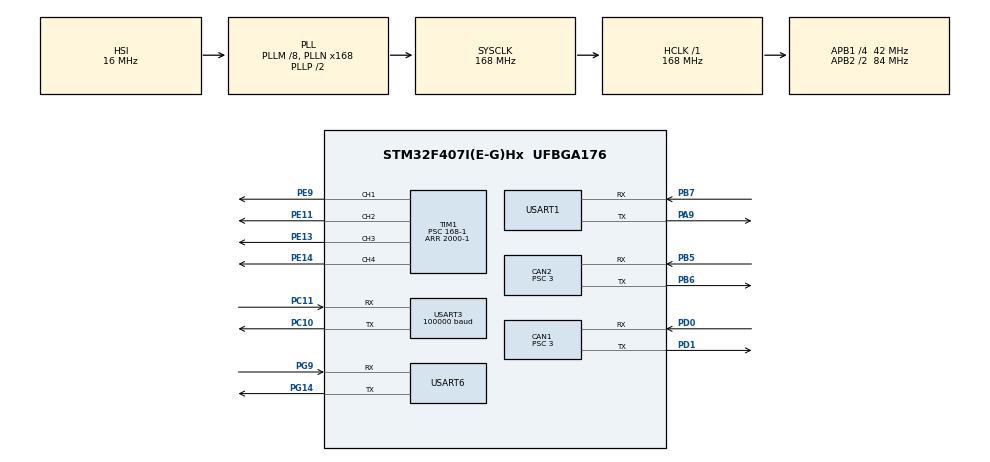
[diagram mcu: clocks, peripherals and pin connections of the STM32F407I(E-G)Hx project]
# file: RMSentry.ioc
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CAN1.BS1=CAN_BS1_10TQ
CAN1.BS2=CAN_BS2_3TQ
CAN1.CalculateTimeQuantum=71.42857142857143
CAN1.Prescaler=3
CAN2.BS1=CAN_BS1_10TQ
CAN2.BS2=CAN_BS2_3TQ
CAN2.CalculateTimeQuantum=71.42857142857143
CAN2.Prescaler=3
Dma.Request0=USART3_RX
Dma.Request1=USART6_RX
Dma.USART3_RX.0.Direction=DMA_PERIPH_TO_MEMORY
Dma.USART3_RX.0.FIFOMode=DMA_FIFOMODE_DISABLE
Dma.USART3_RX.0.Instance=DMA1_Stream1
Dma.USART3_RX.0.MemDataAlignment=DMA_MDATAALIGN_BYTE
Dma.USART3_RX.0.MemInc=DMA_MINC_ENABLE
Dma.USART3_RX.0.Mode=DMA_CIRCULAR
Dma.USART3_RX.0.PeriphDataAlignment=DMA_PDATAALIGN_BYTE
Dma.USART3_RX.0.PeriphInc=DMA_PINC_DISABLE
Dma.USART3_RX.0.Priority=DMA_PRIORITY_VERY_HIGH
Dma.USART6_RX.1.Direction=DMA_PERIPH_TO_MEMORY
Dma.USART6_RX.1.FIFOMode=DMA_FIFOMODE_DISABLE
Dma.USART6_RX.1.Instance=DMA2_Stream1
Dma.USART6_RX.1.MemDataAlignment=DMA_MDATAALIGN_BYTE
Dma.USART6_RX.1.MemInc=DMA_MINC_ENABLE
Dma.USART6_RX.1.Mode=DMA_CIRCULAR
Dma.USART6_RX.1.PeriphDataAlignment=DMA_PDATAALIGN_BYTE
Dma.USART6_RX.1.PeriphInc=DMA_PINC_DISABLE
Dma.USART6_RX.1.Priority=DMA_PRIORITY_VERY_HIGH
Mcu.Family=STM32F4
Mcu.Name=STM32F407I(E-G)Hx
Mcu.Package=UFBGA176
NVIC.CAN1_RX0_IRQn=true\:0\:0\:false\:false\:true\:true\:true
NVIC.CAN2_RX0_IRQn=true\:0\:0\:false\:false\:true\:true\:true
NVIC.DMA1_Stream1_IRQn=true\:0\:0\:false\:false\:true\:false\:true
NVIC.DMA2_Stream1_IRQn=true\:0\:0\:false\:false\:true\:false\:true
NVIC.PriorityGroup=NVIC_PRIORITYGROUP_4
NVIC.TIM2_IRQn=true\:0\:0\:false\:false\:true\:true\:true
NVIC.USART1_IRQn=true\:0\:0\:false\:false\:true\:true\:true
NVIC.USART3_IRQn=true\:0\:0\:false\:false\:true\:true\:true
NVIC.USART6_IRQn=true\:0\:0\:false\:false\:true\:true\:true
PA13.Mode=Serial_Wire
PA13.Signal=SYS_JTMS-SWDIO
PA14.Mode=Serial_Wire
PA14.Signal=SYS_JTCK-SWCLK
PA9.Mode=Asynchronous
PA9.Signal=USART1_TX
PB5.Mode=Slave
PB5.Signal=CAN2_RX
PB6.Mode=Slave
PB6.Signal=CAN2_TX
PB7.Mode=Asynchronous
PB7.Signal=USART1_RX
PC10.Mode=Asynchronous
PC10.Signal=USART3_TX
PC11.Mode=Asynchronous
PC11.Signal=USART3_RX
PD0.Mode=Master
PD0.Signal=CAN1_RX
PD1.Mode=Master
PD1.Signal=CAN1_TX
PE11.Signal=S_TIM1_CH2
PE13.Signal=S_TIM1_CH3
PE14.Signal=S_TIM1_CH4
PE9.Signal=S_TIM1_CH1
PG14.Mode=Asynchronous
PG14.Signal=USART6_TX
PG9.Mode=Asynchronous
PG9.Signal=USART6_RX
PH0-OSC_IN.Mode=HSE-External-Oscillator
PH0-OSC_IN.Signal=RCC_OSC_IN
PH1-OSC_OUT.Mode=HSE-External-Oscillator
PH1-OSC_OUT.Signal=RCC_OSC_OUT
ProjectManager.HeapSize=0x200
ProjectManager.StackSize=0x400
ProjectManager.TargetToolchain=MDK-ARM V5.27
RCC.48MHZClocksFreq_Value=84000000
RCC.AHBFreq_Value=168000000
RCC.APB1CLKDivider=RCC_HCLK_DIV4
RCC.APB1Freq_Value=42000000
RCC.APB1TimFreq_Value=84000000
RCC.APB2CLKDivider=RCC_HCLK_DIV2
RCC.APB2Freq_Value=84000000
RCC.APB2TimFreq_Value=168000000
RCC.CortexFreq_Value=168000000
RCC.HCLKFreq_Value=168000000
RCC.HSE_VALUE=25000000
RCC.HSI_VALUE=16000000
RCC.LSE_VALUE=32768
RCC.PLLM=8
RCC.PLLN=168
RCC.SYSCLKFreq_VALUE=168000000
RCC.SYSCLKSource=RCC_SYSCLKSOURCE_PLLCLK
RCC.VCOOutputFreq_Value=336000000
SH.S_TIM1_CH1.0=TIM1_CH1,PWM Generation1 CH1
SH.S_TIM1_CH2.0=TIM1_CH2,PWM Generation2 CH2
SH.S_TIM1_CH3.0=TIM1_CH3,PWM Generation3 CH3
SH.S_TIM1_CH4.0=TIM1_CH4,PWM Generation4 CH4
STMicroelectronics.X-CUBE-ALGOBUILD.1.3.0.LibraryCcDSPOoLibraryJjDSPOoLibrary=true
TIM1.Channel-PWM\ Generation1\ CH1=TIM_CHANNEL_1
TIM1.Channel-PWM\ Generation2\ CH2=TIM_CHANNEL_2
TIM1.Channel-PWM\ Generation3\ CH3=TIM_CHANNEL_3
TIM1.Channel-PWM\ Generation4\ CH4=TIM_CHANNEL_4
TIM1.Period=2000-1
TIM1.Prescaler=168-1
TIM2.Period=5000-1
TIM2.Prescaler=84-1
USART1.VirtualMode=VM_ASYNC
USART3.BaudRate=100000
USART3.Parity=PARITY_EVEN
USART3.VirtualMode=VM_ASYNC
USART3.WordLength=WORDLENGTH_9B
USART6.VirtualMode=VM_ASYNC
VP_STMicroelectronics.X-CUBE-ALGOBUILD_VS_DSPOoLibraryJjLibrary_1.3.0_1.3.0.Mode=DSPOoLibraryJjLibrary
VP_TIM1_VS_ClockSourceINT.Mode=Internal
VP_TIM2_VS_ClockSourceINT.Mode=Internal
board=custom

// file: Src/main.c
/* USER CODE BEGIN Header */
/**
  ******************************************************************************
  * @file           : main.c
  * @brief          : Main program body
  ******************************************************************************
  * @attention
  *
  * <h2><center>&copy; Copyright (c) 2024 STMicroelectronics.
  * All rights reserved.</center></h2>
  *
  * This software component is licensed by ST under BSD 3-Clause license,
  * the "License"; You may not use this file except in compliance with the
  * License. You may obtain a copy of the License at:
  *                        opensource.org/licenses/BSD-3-Clause
  *
  ******************************************************************************
  */
/* USER CODE END Header */

#include "main.h"
#include "can.h"
#include "dma.h"
#include "tim.h"
#include "usart.h"
#include "gpio.h"

/* USER CODE BEGIN Includes */
#include "bsp_can.h"
#include "CAN_receive.h"
#include "rc_receive.h"
#include "chassis_task.h"
#include "gimbal_task.h"
#include "shoot_task.h"
#include "rc_task.h"
#include "arm_math.h"
#include "jy901.h"
#include "detection_task.h"
#include "demo.h"

int tim_watch=0;
int filter_d_k=0;
/* USER CODE END Includes */

/* USER CODE BEGIN PTD */
int setpwm=1100;
int16_t d_targetspeed=0;
/* USER CODE END PTD */

/* USER CODE BEGIN PD */
struct FILE{int handle;};
int fputc(int ch,struct FILE* f)
{
	HAL_UART_Transmit(&huart1,(uint8_t*)&ch,1,0xffff);
	return ch;
}
float feedback_k=0;
int16_t feedback_output=0;
/* USER CODE END PD */

void SystemClock_Config(void);

/* USER CODE BEGIN 0 */
extern int16_t target_position;
const int length =3;
int16_t rpm_boxs[length]={0};
int cnt=0;

void HAL_TIM_PeriodElapsedCallback(TIM_HandleTypeDef* htim)
{
	if(htim->Instance==TIM2)
	{
		tim_watch++;
		//Demo();
		M3508_GetBasicData(&m3508_id1);
		d_targetspeed=rc_user.x;
		int16_t set_currentMA=M3508_SpeedLoopPIDController(&(m3508_id1.speed_control_data), m3508_id1.basic_data.speed_rpm,d_targetspeed);
        CAN_cmd_chassis(set_currentMA,0,0,0);
		//printf("%d,%d,%d\n",m3508_id1.basic_data.speed_rpm,d_targetspeed,m3508_id1.basic_data.ecd);
		printf("%d,%d,%d\n",m3508_id1.basic_data.speed_rpm,d_targetspeed,m3508_id1.basic_data.ecd);
		//CAN_cmd_chassis(0,5000,0,0);
	}
}
/* USER CODE END 0 */

int main(void)
{

  /* MCU Configuration--------------------------------------------------------*/

  /* Reset of all peripherals, Init-+ializes the Flash interface and the Systick. */
  HAL_Init();

  /* Configure the system clock */
  SystemClock_Config();

  /* Initialize all configured peripherals */
  MX_GPIO_Init();
  MX_DMA_Init();
  MX_TIM1_Init();
  MX_TIM2_Init();
  MX_CAN1_Init();
  MX_CAN2_Init();
  MX_USART1_UART_Init();
  MX_USART3_UART_Init();
  MX_USART6_UART_Init();
  /* USER CODE BEGIN 2 */
  JY901_Init();
  can_filter_init();
  HAL_TIM_Base_Start_IT(&htim2);//任务定时器
  RC_Receive_Init();
  Chassis_Init();
  Gimbal_Init();
  Shoot_Init();
  RC_TaskInit();
  Detection_TaskInit();
  /* USER CODE END 2 */

  /* Infinite loop */
  while (1)
  {

  }
}

void SystemClock_Config(void)
{
  RCC_OscInitTypeDef RCC_OscInitStruct = {0};
  RCC_ClkInitTypeDef RCC_ClkInitStruct = {0};

  /** Configure the main internal regulator output voltage
  */
  __HAL_RCC_PWR_CLK_ENABLE();
  __HAL_PWR_VOLTAGESCALING_CONFIG(PWR_REGULATOR_VOLTAGE_SCALE1);
  /** Initializes the CPU, AHB and APB busses clocks
  */
  RCC_OscInitStruct.OscillatorType = RCC_OSCILLATORTYPE_HSI;
  RCC_OscInitStruct.HSIState = RCC_HSI_ON;
  RCC_OscInitStruct.HSICalibrationValue = RCC_HSICALIBRATION_DEFAULT;
  RCC_OscInitStruct.PLL.PLLState = RCC_PLL_ON;
  RCC_OscInitStruct.PLL.PLLSource = RCC_PLLSOURCE_HSI;
  RCC_OscInitStruct.PLL.PLLM = 8;
  RCC_OscInitStruct.PLL.PLLN = 168;
  RCC_OscInitStruct.PLL.PLLP = RCC_PLLP_DIV2;
  RCC_OscInitStruct.PLL.PLLQ = 4;
  if (HAL_RCC_OscConfig(&RCC_OscInitStruct) != HAL_OK)
  {
    Error_Handler();
  }
  /** Initializes the CPU, AHB and APB busses clocks
  */
  RCC_ClkInitStruct.ClockType = RCC_CLOCKTYPE_HCLK|RCC_CLOCKTYPE_SYSCLK
                              |RCC_CLOCKTYPE_PCLK1|RCC_CLOCKTYPE_PCLK2;
  RCC_ClkInitStruct.SYSCLKSource = RCC_SYSCLKSOURCE_PLLCLK;
  RCC_ClkInitStruct.AHBCLKDivider = RCC_SYSCLK_DIV1;
  RCC_ClkInitStruct.APB1CLKDivider = RCC_HCLK_DIV4;
  RCC_ClkInitStruct.APB2CLKDivider = RCC_HCLK_DIV2;

  if (HAL_RCC_ClockConfig(&RCC_ClkInitStruct, FLASH_LATENCY_5) != HAL_OK)
  {
    Error_Handler();
  }
}

/* USER CODE BEGIN 4 */
void HAL_UART_RxCpltCallback(UART_HandleTypeDef *UartHandle)
{
	if(UartHandle->Instance==USART3)
	{
		//RC_Receive();
	}
	if(UartHandle->Instance==USART6)
	{
//		JY901_Process(&JY901_data);
//		JY901_ExpandAngle(&JY901_data);
	}
}
/* USER CODE END 4 */

void Error_Handler(void)
{
}

/************************ (C) COPYRIGHT STMicroelectronics *****END OF FILE****/
